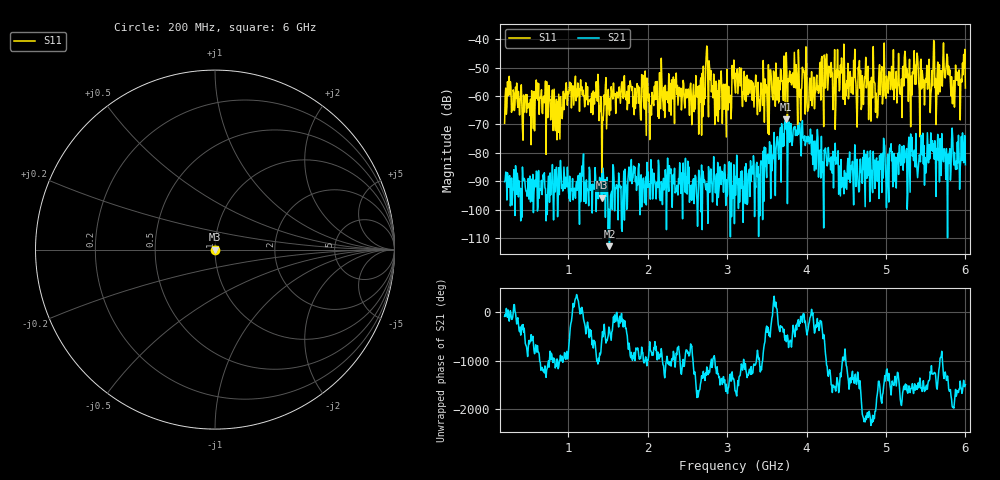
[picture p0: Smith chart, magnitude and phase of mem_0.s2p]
! NanoVNA-App by OneOfEleven et al v1.1.209 (+OD15)
! Date: 2024-07-30 15:14:22
! Start: 200MHz Stop: 6GHz Points: 801
! S-Parameter data: F S11 S21 S12 S22
# Hz S RI R 50
!  Frequency  S11_Real  S11_Imag  S21_Real  S21_Imag  S12_Real  S12_Imag  S22_Real  S22_Imag
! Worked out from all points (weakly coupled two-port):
!   801 points, 200 MHz to 6 GHz, reference 50 ohm
!   highest |S21| = -68.26 dB at 3.738 GHz (marker M1); lowest = -112.9 dB at 1.52 GHz (marker M2)
!   lowest |S11| = -95.9 dB at 1.425 GHz (marker M3), VSWR 1.00, Z = 50 + j0.0016 ohm
!   |S11| at or under -10 dB: start of sweep to end of sweep
!   S12 and S22 are empty: the file has one direction only
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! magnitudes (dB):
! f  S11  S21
! 200 MHz  -69.6  -90.2
! 258 MHz  -53.1  -88.4
! 867 MHz  -62.1  -102.5
! 997.5 MHz  -58.4  -90.5
! 1.171 GHz  -56.7  -84.7
! 1.353 GHz  -55.0  -100.7
! 1.425 GHz  -95.9  -87.3
! 1.52 GHz  -66.7  -112.9
! 2.136 GHz  -64.5  -82.6
! 2.665 GHz  -54.5  -93.6
! 2.759 GHz  -57.7  -104.9
! 2.875 GHz  -67.0  -98.5
! 3.02 GHz  -56.6  -87.0
! 3.1 GHz  -56.9  -88.3
! 3.499 GHz  -57.2  -88.7
! 3.738 GHz  -53.1  -68.3
! 4.072 GHz  -63.4  -73.7
! 4.253 GHz  -45.2  -82.8
! 4.876 GHz  -59.0  -82.3
! 5.036 GHz  -51.5  -97.4
! 5.84 GHz  -62.7  -74.8
! 6 GHz  -57.2  -84.2
